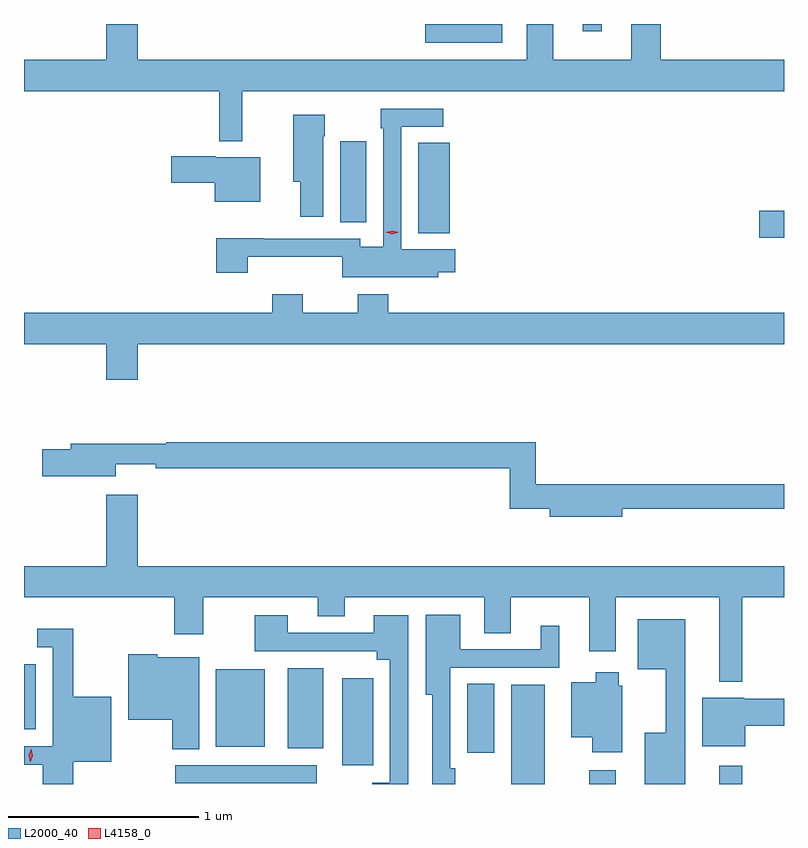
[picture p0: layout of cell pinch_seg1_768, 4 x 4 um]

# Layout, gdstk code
import gdstk
lib = gdstk.Library(unit=1e-6, precision=1e-09)
def R(c, l, rs):  # rectangles x0, y0, x1, y1
    for r in rs: c.add(gdstk.rectangle(r[:2], r[2:], *l))
def P(c, l, *ps):  # polygons
    for p in ps: c.add(gdstk.Polygon(p, *l))
L2000_40 = (2000, 40)
L4158_0 = (4158, 0)

pinch_seg1_768 = lib.new_cell('pinch_seg1_768')
R(pinch_seg1_768, L2000_40, [(502.802,548.085,502.978,548.608), (503.213,548.085,503.353,548.158), (503.897,548.085,504.019,548.182), (501.033,548.088,501.778,548.184), (501.914,548.183,502.075,548.641), (502.571,548.25,502.714,548.612), (501.626,548.273,501.814,548.695), (501.248,548.282,501.505,548.689), (500.238,548.372,500.299,548.716), (504.108,550.96,504.238,551.102), (502.313,550.985,502.48,551.459), (501.902,551.041,502.039,551.467), (502.35,551.987,502.756,552.085), (503.18,552.048,503.278,552.085)])
P(pinch_seg1_768, L2000_40, [(501.386,551.732),(504.238,551.732),(504.238,551.896),(503.588,551.896),(503.588,552.085),(503.435,552.085),(503.435,551.896),(503.023,551.896),(503.023,552.085),(502.883,552.085),(502.883,551.896),(500.836,551.896),(500.836,552.085),(500.672,552.085),(500.672,551.896),(500.238,551.896),(500.238,551.732),(501.266,551.732),(501.266,551.469),(501.386,551.469)],
  [(502.419,550.778),(502.507,550.778),(502.507,550.9),(502.224,550.9),(502.224,551.544),(502.444,551.544),(502.444,551.64),(502.116,551.64),(502.116,551.537),(502.128,551.537),(502.128,550.912),(502.008,550.912),(502.008,550.956),(501.499,550.956),(501.499,550.958),(501.251,550.958),(501.251,550.776),(501.416,550.776),(501.416,550.859),(501.912,550.859),(501.912,550.751),(502.419,550.751)],
  [(501.814,551.495),(501.822,551.495),(501.822,551.608),(501.656,551.608),(501.656,551.255),(501.692,551.255),(501.692,551.07),(501.814,551.07)],
  [(501.481,551.383),(501.246,551.383),(501.246,551.39),(501.012,551.39),(501.012,551.249),(501.242,551.249),(501.242,551.15),(501.481,551.15)],
  [(500.836,550.4),(504.238,550.4),(504.238,550.564),(502.154,550.564),(502.154,550.663),(501.994,550.663),(501.994,550.564),(501.705,550.564),(501.705,550.663),(501.545,550.663),(501.545,550.564),(500.238,550.564),(500.238,550.4),(500.672,550.4),(500.672,550.212),(500.836,550.212)],
  [(503.386,549.534),(504.238,549.534),(504.238,549.662),(502.931,549.662),(502.931,549.884),(500.987,549.884),(500.987,549.877),(500.483,549.877),(500.483,549.848),(500.334,549.848),(500.334,549.706),(500.722,549.706),(500.722,549.767),(500.932,549.767),(500.932,549.748),(502.795,549.748),(502.795,549.534),(503.006,549.534),(503.006,549.491),(503.386,549.491)],
  [(500.836,549.607),(500.672,549.607),(500.672,549.232),(500.238,549.232),(500.238,549.068),(501.029,549.068),(501.029,548.874),(501.181,548.874),(501.181,549.068),(501.785,549.068),(501.785,548.969),(501.925,548.969),(501.925,549.068),(502.661,549.068),(502.661,548.878),(502.801,548.878),(502.801,549.068),(503.213,549.068),(503.213,548.784),(503.353,548.784),(503.353,549.068),(503.897,549.068),(503.897,548.624),(504.019,548.624),(504.019,549.068),(504.238,549.068),(504.238,549.232),(500.836,549.232)],
  [(502.509,548.169),(502.482,548.169),(502.482,548.697),(503.056,548.697),(503.056,548.917),(502.958,548.917),(502.958,548.793),(502.534,548.793),(502.534,548.977),(502.352,548.977),(502.352,548.555),(502.386,548.555),(502.386,548.085),(502.509,548.085)],
  [(502.26,548.974),(502.079,548.974),(502.079,548.88),(501.625,548.88),(501.625,548.974),(501.452,548.974),(501.452,548.784),(502.094,548.784),(502.094,548.738),(502.164,548.738),(502.164,548.092),(502.071,548.092),(502.071,548.085),(502.26,548.085)],
  [(503.719,548.953),(503.468,548.953),(503.468,548.69),(503.615,548.69),(503.615,548.356),(503.504,548.356),(503.504,548.085),(503.719,548.085)],
  [(500.498,548.201),(500.698,548.201),(500.698,548.545),(500.497,548.545),(500.497,548.902),(500.307,548.902),(500.307,548.805),(500.388,548.805),(500.388,548.283),(500.238,548.283),(500.238,548.187),(500.336,548.187),(500.336,548.085),(500.498,548.085)],
  [(501.16,548.752),(500.94,548.752),(500.94,548.767),(500.786,548.767),(500.786,548.423),(501.019,548.423),(501.019,548.269),(501.16,548.269)],
  [(503.386,548.601),(503.368,548.601),(503.368,548.674),(503.246,548.674),(503.246,548.62),(503.117,548.62),(503.117,548.33),(503.228,548.33),(503.228,548.253),(503.386,548.253)],
  [(504.034,548.392),(504.238,548.392),(504.238,548.534),(504.03,548.534),(504.03,548.539),(503.807,548.539),(503.807,548.285),(504.034,548.285)])
P(pinch_seg1_768, L4158_0, [(502.176,550.978),(502.141,550.988),(502.141,550.988),(502.141,550.988),(502.176,550.998),(502.21,550.988),(502.211,550.988),(502.21,550.988)],
  [(500.272,548.2),(500.272,548.2),(500.263,548.236),(500.275,548.27),(500.275,548.271),(500.275,548.27),(500.283,548.235),(500.272,548.2)])

lib.write_gds('pinch_seg1_768.gds')
